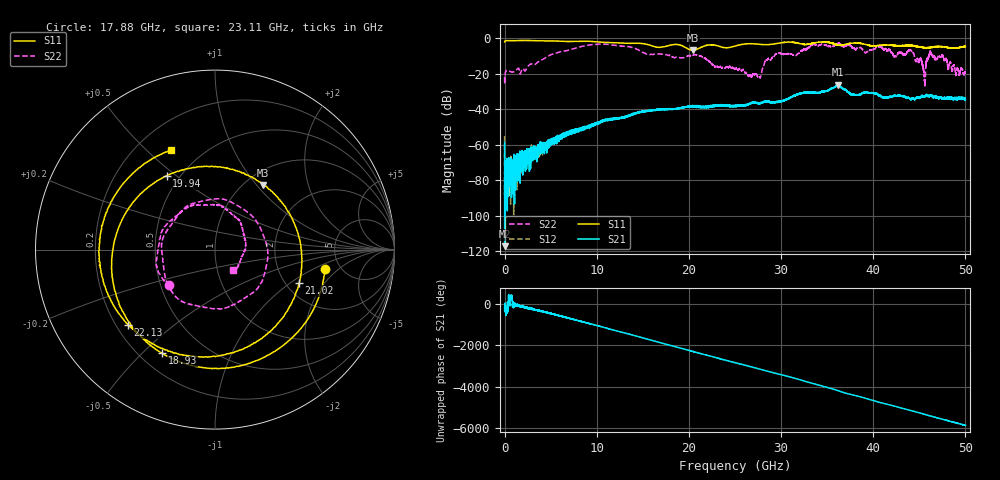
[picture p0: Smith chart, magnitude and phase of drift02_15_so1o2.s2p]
!Created with skrf (http://scikit-rf.org).
# Hz S RI R 50.0
!freq ReS11 ImS11 ReS21 ImS21 ReS12 ImS12 ReS22 ImS22
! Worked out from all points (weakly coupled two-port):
!   10001 points, 300 kHz to 50 GHz, reference 50 ohm
!   highest |S21| = -26.30 dB at 36.13 GHz (marker M1); lowest = -117.3 dB at 10.3 MHz (marker M2)
!   lowest |S11| = -6.9 dB at 20.44 GHz (marker M3), VSWR 2.64, Z = 60 + j54.3 ohm
!   |S11| at or under -10 dB: nowhere
!   |S22| runs from -27.0 to -2.6 dB; largest |S21 - S12| = 0.005
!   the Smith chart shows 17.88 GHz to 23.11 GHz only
!   S11 on the Smith chart (normalised r, x): 17.88 GHz: 3.79, -1.35; 18.93 GHz: 0.29, -0.57; 19.94 GHz: 0.43, +0.46; 21.02 GHz: 2.35, -1.17; 22.13 GHz: 0.25, -0.35; 23.11 GHz: 0.34, +0.60
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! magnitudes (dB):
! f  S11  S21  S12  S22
! 300 kHz  -2.1  -58.8  -55.2  -21.7
! 10.3 MHz  -2.1  -117.3  -74.6  -25.4
! 255.3 MHz  -1.4  -75.0  -80.9  -18.2
! 8.335 GHz  -1.7  -51.2  -51.1  -4.8
! 16.67 GHz  -5.2  -40.4  -40.3  -8.9
! 17.88 GHz  -4.1  -39.8  -40.0  -9.7
! 18.93 GHz  -3.8  -39.6  -39.5  -10.9
! 19.94 GHz  -6.2  -38.7  -38.6  -9.9
! 20.44 GHz  -6.9  -38.3  -38.3  -9.7
! 21.02 GHz  -6.0  -38.9  -38.5  -9.5
! 22.13 GHz  -3.9  -38.8  -38.8  -12.8
! 23.11 GHz  -4.4  -38.0  -38.1  -16.3
! 25 GHz  -4.5  -38.2  -38.4  -17.5
! 27.62 GHz  -3.5  -36.8  -36.7  -21.9
! 28.5 GHz  -3.7  -35.7  -35.6  -12.2
! 33.34 GHz  -3.0  -30.7  -30.5  -3.7
! 36.13 GHz  -3.9  -26.3  -26.9  -3.2
! 41.67 GHz  -4.0  -33.4  -33.4  -6.3
! 44.12 GHz  -4.2  -34.4  -34.6  -7.1
! 45.5 GHz  -5.3  -32.8  -32.9  -18.8
! 46.28 GHz  -5.2  -32.5  -32.0  -8.6
! 50 GHz  -4.8  -34.7  -34.5  -19.1
